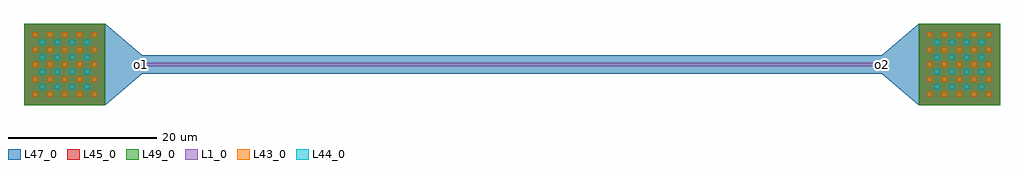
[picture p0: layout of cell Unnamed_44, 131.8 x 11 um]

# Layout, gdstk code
import gdstk
lib = gdstk.Library(unit=1e-6, precision=1e-09)
def R(c, l, rs):  # rectangles x0, y0, x1, y1
    for r in rs: c.add(gdstk.rectangle(r[:2], r[2:], *l))
def A(c, l, x, y, w, h, nx, ny, dx, dy):  # array of equal rectangles
    R(c, l, [(x+i*dx, y+j*dy, x+i*dx+w, y+j*dy+h) for i in range(nx) for j in range(ny)])
def P(c, l, *ps):  # polygons
    for p in ps: c.add(gdstk.Polygon(p, *l))
L1_0 = (1, 0)
L43_0 = (43, 0)
L44_0 = (44, 0)
L45_0 = (45, 0)
L47_0 = (47, 0)
L49_0 = (49, 0)

straight_heater_metal_u_ = lib.new_cell('straight_heater_metal_u_c4ab91f6')
R(straight_heater_metal_u_, L1_0, [(0,-0.25,100,0.25)])
A(straight_heater_metal_u_, L43_0, -14.75, -4.35, 0.7, 0.7, 5, 5, 2, 2)
A(straight_heater_metal_u_, L43_0, 106.05, -4.35, 0.7, 0.7, 5, 5, 2, 2)
A(straight_heater_metal_u_, L44_0, -13.75, -3.35, 0.7, 0.7, 4, 4, 2, 2)
A(straight_heater_metal_u_, L44_0, 107.05, -3.35, 0.7, 0.7, 4, 4, 2, 2)
R(straight_heater_metal_u_, L45_0, [(-15.9,-5.5,-4.9,5.5), (104.9,-5.5,115.9,5.5)])
P(straight_heater_metal_u_, L47_0, [(-15.9,-5.5),(-15.9,5.5),(-4.9,5.5),(0.1,1.25),(99.9,1.25),(104.9,5.5),(115.9,5.5),(115.9,-5.5),(104.9,-5.5),(99.9,-1.25),(0.1,-1.25),(-4.9,-5.5)])
R(straight_heater_metal_u_, L49_0, [(-15.9,-5.5,-4.9,5.5), (104.9,-5.5,115.9,5.5)])

unnamed_44 = lib.new_cell('Unnamed_44')
P(unnamed_44, L1_0, [(0,-0.25),(-0.25,0),(-0.062,0.188),(-0.025,0.188),(-0.215,0),(-0.025,0),(-0.025,0.188),(-0.062,0.188),(0,0.25)],
  [(100,-0.25),(100,0),(100.025,0),(100.025,-0.188),(100.215,0),(100,0),(100,0.25),(100.25,0)])
unnamed_44.add(gdstk.Reference(straight_heater_metal_u_, (0,0)))
unnamed_44.add(gdstk.Label('o1', (0,0), layer=1, texttype=0))
unnamed_44.add(gdstk.Label('o2', (100,0), layer=1, texttype=0))

lib.write_gds('Unnamed_44.gds')
